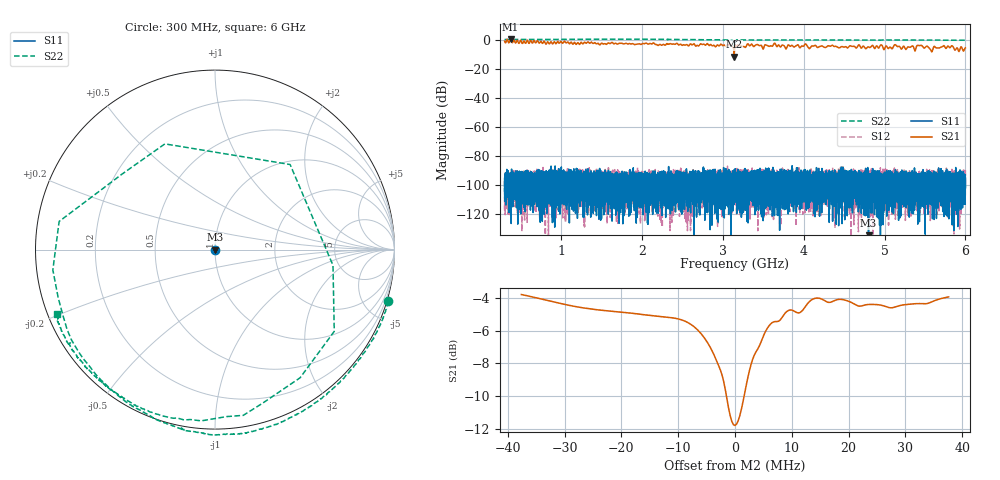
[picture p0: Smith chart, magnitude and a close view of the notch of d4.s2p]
!Agilent Technologies,N5230C,SG49000117,A.08.50.07
!Agilent N5230C: A.08.50.07
!Date: Sunday, March 17, 2024 00:54:58
!Correction: S11(Off)
!S21(Off)
!S12(Off)
!S22(Full 1 Port(2))
!S2P File: Measurements: S11, S21, S12, S22:
# Hz S  RI  R 50
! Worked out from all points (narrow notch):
!   20001 points, 300 MHz to 6 GHz, reference 50 ohm
!   highest |S21| = 0.35 dB at 373.5 MHz (marker M1); lowest = -11.8 dB at 3.139 GHz (marker M2)
!   notch at M2: 7.9 dB deep, 6.28 MHz wide at half that depth
!   lowest |S11| = -139.8 dB at 4.802 GHz (marker M3), VSWR 1.00, Z = 50 - j8.29e-06 ohm
!   |S11| at or under -10 dB: start of sweep to end of sweep
!   |S22| runs from -4.5 to 0.3 dB; largest |S21 - S12| = 1
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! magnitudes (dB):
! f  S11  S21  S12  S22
! 300 MHz  -102.9  -1.1  -101.4  0.1
! 373.5 MHz  -96.7  0.4  -96.7  0.1
! 1.25 GHz  -97.0  -1.9  -95.8  0.2
! 2.2 GHz  -109.9  -4.0  -96.4  0.2
! 3.076 GHz  -105.4  -3.7  -96.5  -0.3
! 3.139 GHz  -101.2  -11.8  -106.1  -4.4
! 3.15 GHz  -98.1  -4.9  -102.5  -3.9
! 3.329 GHz  -95.1  -4.3  -100.5  -0.2
! 3.485 GHz  -100.7  -5.0  -96.4  -0.2
! 3.633 GHz  -114.5  -2.7  -89.9  -0.3
! 3.773 GHz  -101.5  -5.9  -98.0  -0.2
! 4.017 GHz  -90.2  -3.1  -95.2  -0.3
! 4.1 GHz  -100.4  -4.4  -92.9  -0.2
! 4.802 GHz  -139.8  -5.0  -101.3  -0.2
! 5.05 GHz  -101.9  -6.1  -91.9  -0.3
! 5.138 GHz  -102.2  -3.7  -93.1  -0.3
! 5.372 GHz  -96.0  -7.5  -107.2  -0.3
! 5.432 GHz  -103.3  -4.2  -90.8  -0.3
! 5.574 GHz  -93.2  -7.5  -96.2  -0.3
! 5.72 GHz  -118.6  -4.6  -100.1  -0.4
! 5.898 GHz  -96.8  -5.8  -101.2  -0.4
! 6 GHz  -101.5  -5.6  -97.7  -0.4
